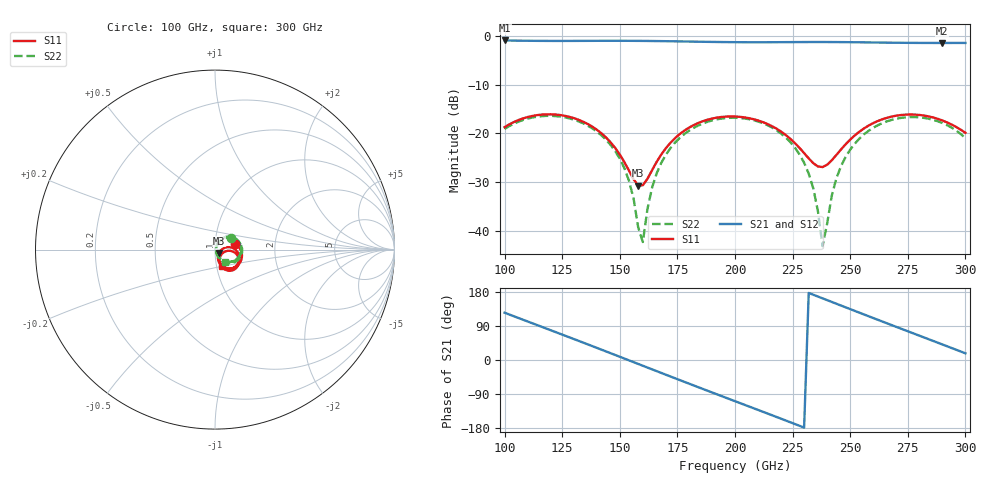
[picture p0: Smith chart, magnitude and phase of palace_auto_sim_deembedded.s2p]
! Created with skrf 1.11.0 (http://scikit-rf.org).
# GHz S DB R 50.0
!freq dBS11 angS11 dBS21 angS21 dBS12 angS12 dBS22 angS22
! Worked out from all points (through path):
!   101 points, 100 GHz to 300 GHz, reference 50 ohm
!   highest |S21| = -0.86 dB at 100 GHz (marker M1); lowest = -1.4 dB at 290 GHz (marker M2)
!   group delay of S21, straight-line fit = 6.5 ps
!   lowest |S11| = -30.7 dB at 158 GHz (marker M3), VSWR 1.06, Z = 52.2 - j1.95 ohm
!   |S11| at or under -10 dB: start of sweep to end of sweep
!   |S22| runs from -43.2 to -16.4 dB; largest |S21 - S12| = 9.8e-14
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100  -18.71 15.3  -0.86 124.8  -0.86 124.8  -19.07 34.8
116  -16.13 -17.0  -0.94 87.8  -0.94 87.8  -16.44 2.8
134  -17.56 -53.2  -0.94 46.1  -0.94 46.1  -17.90 -34.5
150  -24.35 -73.0  -0.93 8.5  -0.93 8.5  -25.20 -65.1
154  -27.68 -66.2  -0.93 -1.0  -0.93 -1.0  -29.77 -68.8
158  -30.72 -39.9  -0.94 -10.4  -0.94 -10.4  -39.38 -50.4
160  -30.66 -20.3  -0.95 -15.2  -0.95 -15.2  -42.35 23.1
164  -27.57 4.9  -0.97 -24.7  -0.97 -24.7  -31.16 63.1
168  -24.34 11.2  -0.99 -34.1  -0.99 -34.1  -26.06 60.8
184  -17.86 -7.1  -1.11 -71.6  -1.11 -71.6  -18.37 31.1
200  -16.51 -35.3  -1.21 -108.7  -1.21 -108.7  -16.77 -1.7
222  -20.31 -67.2  -1.20 -159.6  -1.20 -159.6  -20.82 -47.2
230  -24.05 -65.7  -1.18 -178.4  -1.18 -178.4  -26.03 -61.8
234  -26.13 -54.3  -1.18 172.2  -1.18 172.2  -31.34 -64.5
238  -26.93 -33.6  -1.18 162.7  -1.18 162.7  -43.21 -16.8
242  -25.54 -14.8  -1.18 153.2  -1.18 153.2  -32.82 66.5
248  -22.24 -4.8  -1.21 139.0  -1.21 139.0  -24.85 62.8
256  -18.96 -9.1  -1.25 120.2  -1.25 120.2  -20.20 47.3
268  -16.53 -26.1  -1.32 92.1  -1.32 92.1  -17.20 21.4
278  -16.12 -42.1  -1.36 68.9  -1.36 68.9  -16.63 -0.7
290  -17.33 -59.2  -1.37 41.0  -1.37 41.0  -17.85 -27.4
300  -19.86 -66.6  -1.37 17.7  -1.37 17.7  -20.97 -50.0
